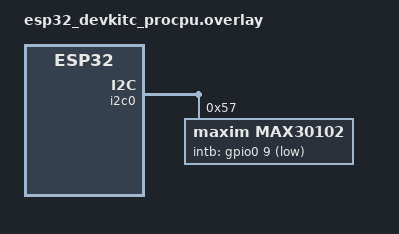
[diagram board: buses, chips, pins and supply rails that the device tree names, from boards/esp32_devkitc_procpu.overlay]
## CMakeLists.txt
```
#-------------------------------------------------------------------------------
# Zephyr Example Application
#
# Copyright (c) 2021 Nordic Semiconductor ASA
# SPDX-License-Identifier: Apache-2.0

cmake_minimum_required(VERSION 3.13.1)

 #list(APPEND ZEPHYR_EXTRA_MODULES ${CMAKE_CURRENT_SOURCE_DIR}/..)
 

find_package(Zephyr REQUIRED HINTS $ENV{ZEPHYR_BASE})

project(app LANGUAGES C)

FILE(GLOB app_sources src/*.c)
target_sources(app PRIVATE ${app_sources})
```

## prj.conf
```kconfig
# This file contains selected Kconfig options for the application.
CONFIG_HEAP_MEM_POOL_SIZE=65536
CONFIG_MAIN_STACK_SIZE=4096
CONFIG_ESP32_USE_UNSUPPORTED_REVISION=y
CONFIG_GPIO=y
# choose UART console
CONFIG_UART_CONSOLE=y
# General config
CONFIG_LOG=y
CONFIG_LOG_BUFFER_SIZE=2048
CONFIG_LOG_DEFAULT_LEVEL=1
CONFIG_CBPRINTF_FP_SUPPORT=y
CONFIG_STDOUT_CONSOLE=y
CONFIG_I2C=y
CONFIG_SENSOR=y
CONFIG_SENSOR_LOG_LEVEL_ERR=y
#MAX30102
CONFIG_MAX30102=y
#CONFIG_MAX30102_HEART_RATE_MODE=y
CONFIG_MAX30102_SPO2_MODE=y
# Swapped on clone (IR)
CONFIG_MAX30102_LED1_PA=0x2f
# Swapped on clone (Red)
CONFIG_MAX30102_LED2_PA=0x2f
CONFIG_MAX30102_FIFO_A_FULL=2
CONFIG_MAX30102_TRIGGER=y
CONFIG_MAX30102_TRIGGER_OWN_THREAD=y
```

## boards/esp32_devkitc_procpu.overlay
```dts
/ {

};

&gpio {
	status = "okay";
};

&i2c0 {
    status = "okay";
	label="I2C_0";
    max30102: max30102@57 {
        compatible = "maxim,max30102";
        reg = <0x57>;
        intb-gpios = <&gpio0 9 (GPIO_ACTIVE_LOW | GPIO_PULL_UP)>;
        label = "MAX30102";
        mode = <3>;
        fifo-a-full = <1>;
		smp-ave = <1> ;
		sr = <2> ; 
    };
}; 
```

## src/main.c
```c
#include <zephyr/kernel.h>
#include <zephyr/drivers/sensor.h>
#include <zephyr/logging/log.h>
#include <app_version.h>
#include <app/drivers/sensors/max30102.h>
#include <stdint.h>
#include "global.h"
#include "processing.h"
#define MY_STACK_SIZE 500
#define MY_PRIORITY 5
void start_acquisition(const struct device *max30102);
void configuration_led (const struct device *max30102);
LOG_MODULE_REGISTER(main, CONFIG_APP_LOG_LEVEL);


K_SEM_DEFINE(sem, 0, 1);
int i=0;
struct ppg_sample buffer [2048];
float result;


/**
 * Handles MAX30102 hardware interrupt
 */
static void trigger_handler(const struct device *max30102, const struct sensor_trigger *trigger)
{
    switch (trigger->type)
    {
    case SENSOR_TRIG_DATA_READY:
        if (sensor_sample_fetch(max30102))
        {
            LOG_ERR("Sample fetch error\n");
            return;
        }
        LOG_INF("Fetched sample\n");
        struct sensor_value red;
        struct sensor_value ir;
        sensor_channel_get(max30102, SENSOR_CHAN_RED, &red);
        sensor_channel_get(max30102, SENSOR_CHAN_IR, &ir);
        struct ppg_sample sample = {
            .ir = ir.val1,
            .red = red.val1};
            //printk("%d %d\n", ir.val1, red.val1);
            buffer[i].ir = ir.val1;
            buffer[i].red = red.val1;
                i++;
                //printk("%d\n", i);
            if (i==1024)
            {    
                k_sem_give(&sem);
                i=0;
            }


        break;
    default:
        LOG_ERR("Unknown trigger\n");
    }

}

/**
 *  Configure the MAX30102 hardware trigger interrupt
 */
static void drdy_trigger_mode(const struct device *max30102)
{
    printk("Ready to perform acquisition !") ;
    struct sensor_trigger trig = {
        .type = SENSOR_TRIG_DATA_READY,
        .chan = SENSOR_CHAN_ALL,
    };

    if (sensor_trigger_set(max30102, &trig, trigger_handler))
    {
        LOG_ERR("Could not set trigger\n");
        return;
    }
    LOG_INF("Set trigger handler\n");
}

void start_acquisition(const struct device *max30102) {
    const struct sensor_value acq_val = {.val1 = 1, .val2 = 0} ;
        if (sensor_attr_set(max30102, SENSOR_CHAN_ALL, (enum
            sensor_attribute)MAX30102_ATTR_ACQUISITION, &acq_val) != 0)
    {
        printk("Failed to start sensor !\n") ;
        return ;
    }

    drdy_trigger_mode(max30102) ;

    printk("Ready to perform acquisition !\n") ;
}

void configuration_led (const struct device *max30102){
    struct sensor_value pa_val ; 
    pa_val.val1 = 50 ;
    pa_val.val2 = 0 ;

    if (sensor_attr_set(max30102, SENSOR_CHAN_RED,SENSOR_ATTR_PRIV_START, &pa_val) != 0)
    {
        LOG_ERR("Failed to set RED LED pulse amplitude.") ;
    }
    else
    {
        LOG_INF("Set RED LED PA to %d", pa_val.val1) ;
    }
    if (sensor_attr_set(max30102, SENSOR_CHAN_IR,SENSOR_ATTR_PRIV_START, &pa_val) != 0)
    {
        LOG_ERR("Failed to set IR LED pulse amplitude.") ;
    }
    else
    {
        LOG_INF("Set IR LED PA to %d", pa_val.val1) ;
    }
}

int main(void)
{
    printk("Starting App ! %s\n", CONFIG_BOARD_TARGET);
    const struct device *max30102 = DEVICE_DT_GET_ANY(maxim_max30102);
    start_acquisition(max30102);
    configuration_led(max30102);
    while (1) {
                k_sem_take(&sem, K_FOREVER);
                result = fft_processing(buffer);
                result = result * 60.0f; // Convert to bpm
                printk("%f\n",result);
                
    }
}
```

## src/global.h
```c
#ifndef GLOBAL_H_
#define GLOBAL_H_

#define SAMPLES_PER_SECOND 100
#define SEGMENT_SAMPLES 1024
#define SEGMENT_BYTES (SEGMENT_SAMPLES * sizeof(struct ppg_sample))


#include <zephyr/kernel.h>

struct ppg_sample
{
    int ir;
    int red;
};

struct ppg_result
{
    float heart_rate;
    float spo2;
};

extern struct ppg_sample buffer[];

#endif /* GLOBAL_H_ */
```

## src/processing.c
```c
/*
 * Copyright (c) 2021 Nordic Semiconductor ASA
 * SPDX-License-Identifier: Apache-2.0
 *
 * Contains all logic for processing PPG sensor data, including FFT.
 */

#include <zephyr/logging/log.h>
#include <string.h>
#include <math.h>
#include "processing.h"
#include "global.h"

#ifndef M_PI
#define M_PI 3.14159265358979323846f
#endif

#define FFT_SIZE SEGMENT_SAMPLES
#define FFT_BINS ((FFT_SIZE / 2) + 1)
#define MIN_FREQ_HZ 0.5f
#define MAX_FREQ_HZ 3.0f
#define FFT_LOGN 10 // log2(1024) = 10

// Hann window amplitude correction factor (compensates for window energy loss)
#define HANN_AMPLITUDE_CORRECTION 2.0f

LOG_MODULE_REGISTER(processing, CONFIG_APP_LOG_LEVEL);

// Custom complex type
typedef struct
{
    float r;
    float i;
} cpx;

// buffers for FFT
static cpx fft_complex[FFT_SIZE];
static float fft_magnitudes[FFT_BINS];

static cpx cpx_add(cpx a, cpx b)
{
    cpx res = {a.r + b.r, a.i + b.i};
    return res;
}

static cpx cpx_sub(cpx a, cpx b)
{
    cpx res = {a.r - b.r, a.i - b.i};
    return res;
}

static cpx cpx_mult(cpx a, cpx b)
{
    cpx res = {a.r * b.r - a.i * b.i, a.r * b.i + a.i * b.r};
    return res;
}

static int bit_reverse(int idx, int logn)
{
    int rev = 0;
    for (int b = 0; b < logn; b++)
    {
        rev = (rev << 1) | (idx & 1);
        idx >>= 1;
    }
    return rev;
}

static void custom_fft(cpx *X, int N, int logn)
{
    // Bit reversal permutation
    for (int i = 0; i < N; i++)
    {
        int j = bit_reverse(i, logn);
        if (i < j)
        {
            cpx temp = X[i];
            X[i] = X[j];
            X[j] = temp;
        }
    }

    // Butterfly stages
    for (int s = 1; s <= logn; s++)
    {
        int m = 1 << s;
        int m2 = m / 2;
        float angle_step = -2.0f * (float)M_PI / (float)m;
        for (int k = 0; k < N; k += m)
        {
            cpx w = {1.0f, 0.0f}; // Start w at 1 + 0i
            for (int j = 0; j < m2; j++)
            {
                cpx u = X[k + j];
                cpx t = cpx_mult(w, X[k + j + m2]);
                X[k + j] = cpx_add(u, t);
                X[k + j + m2] = cpx_sub(u, t);
                // Rotate w by angle_step
                float cos_a = cosf(angle_step);
                float sin_a = sinf(angle_step);
                w = cpx_mult(w, (cpx){cos_a, sin_a});
            }
        }
    }
}

/**
 * Process PPG segment with FFT and return dominant frequency
 *
 * @param segment Array of PPG samples
 * @return Dominant frequency in Hz, or 0.0 if no peak found
 */
float fft_processing(const struct ppg_sample *segment)
{
    const float Nf = (float)FFT_SIZE;
    const float fs = (float)SAMPLES_PER_SECOND;
    const float bin_hz = fs / Nf;

    memset(fft_complex, 0, sizeof(fft_complex));
    memset(fft_magnitudes, 0, sizeof(fft_magnitudes));

    float mean = 0.0f;
    for (int i = 0; i < FFT_SIZE; ++i)
    {
        float sample = (float)segment[i].ir;
        mean += sample;
    }
    mean /= Nf;

    for (int i = 0; i < FFT_SIZE; ++i)
    {
        fft_complex[i].r = (float)segment[i].ir - mean;
        fft_complex[i].i = 0.0f;
    }

    // Apply Hann window
    for (int i = 0; i < FFT_SIZE; ++i)
    {
        float cos_arg = 2.0f * (float)M_PI * (float)i / (Nf - 1.0f);
        float w = 0.5f * (1.0f - cosf(cos_arg));
        fft_complex[i].r *= w;
    }

    custom_fft(fft_complex, FFT_SIZE, FFT_LOGN);

    for (int k = 0; k < FFT_BINS; ++k)
    {
        // Normalize by N
        float re = fft_complex[k].r / Nf;
        float im = fft_complex[k].i / Nf;
        fft_magnitudes[k] = re * re + im * im;
        fft_magnitudes[k] *= (HANN_AMPLITUDE_CORRECTION * HANN_AMPLITUDE_CORRECTION);
    }

    int min_bin = (int)ceilf(MIN_FREQ_HZ / bin_hz);
    int max_bin = (int)floorf(MAX_FREQ_HZ / bin_hz);

    if (min_bin < 1)
        min_bin = 1; // Start from bin 1 (ignore DC)
    if (max_bin >= FFT_BINS)
        max_bin = FFT_BINS - 1;
    if (min_bin > max_bin)
        return 0.0f; // Invalid range

    float max_mag = 0.0f;
    int max_bin_idx = 0;

    for (int k = min_bin; k <= max_bin; ++k)
    {
        if (fft_magnitudes[k] > max_mag)
        {
            max_mag = fft_magnitudes[k];
            max_bin_idx = k;
        }
    }

    if (max_mag <= 0.0f || max_bin_idx == 0)
        return 0.0f;

    return (float)max_bin_idx * bin_hz;
}
```

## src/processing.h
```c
#ifndef PROCESSING_H
#define PROCESSING_H
// Ensure ppg_sample is defined for callers
#include "global.h"

float fft_processing(const struct ppg_sample *segment);

#endif // PROCESSING_H
```

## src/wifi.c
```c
#include "wifi.h"
#include "global.h"


// Placeholder function TODO: Implement
void send_wifi_data(struct ppg_result *result)
{
    k_sleep(K_MSEC(500)); // Simule le temps d'envoi
}
```

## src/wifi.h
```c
#ifndef WIFI_H
#define WIFI_H



#endif // WIFI_H
```
